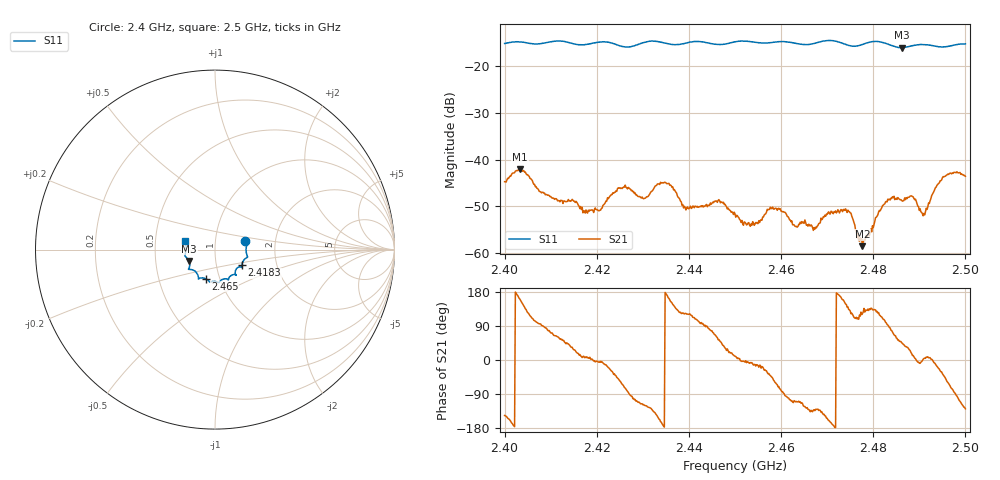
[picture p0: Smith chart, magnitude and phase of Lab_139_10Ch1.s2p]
# Hz S RI R 50
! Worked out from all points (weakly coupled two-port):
!   601 points, 2.4 GHz to 2.5 GHz, reference 50 ohm
!   highest |S21| = -42.07 dB at 2.4033 GHz (marker M1); lowest = -58.6 dB at 2.4777 GHz (marker M2)
!   lowest |S11| = -16.0 dB at 2.4862 GHz (marker M3), VSWR 1.37, Z = 37.1 - j4.82 ohm
!   |S11| at or under -10 dB: start of sweep to end of sweep
!   S12 and S22 are empty: the file has one direction only
!   S11 on the Smith chart (normalised r, x): 2.4 GHz: 1.40, +0.13; 2.4183 GHz: 1.33, -0.24; 2.465 GHz: 0.86, -0.29; 2.5 GHz: 0.71, +0.07
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2.4e9  0.1688 0.0458  -0.00482 -0.0032  0 0  0 0
2.403333e9  0.1796 0.031  -0.00742 0.00264  0 0  0 0
2.416667e9  0.155 -0.0683  0.00288 0.000463  0 0  0 0
2.418333e9  0.1498 -0.0868  0.00277 0.000255  0 0  0 0
2.425e9  0.1341 -0.0966  0.00284 -0.00409  0 0  0 0
2.430167e9  0.1142 -0.1379  -0.00175 -0.00337  0 0  0 0
2.433333e9  0.1166 -0.1414  -0.00483 -0.00256  0 0  0 0
2.439333e9  0.0768 -0.1591  -0.00156 0.00242  0 0  0 0
2.446167e9  0.0515 -0.1632  0.00178 0.00298  0 0  0 0
2.45e9  0.0251 -0.1808  0.00257 0.000452  0 0  0 0
2.453667e9  0.0157 -0.1817  0.00196 -0.000241  0 0  0 0
2.459333e9  -0.0254 -0.1809  0.000993 -0.0028  0 0  0 0
2.465e9  -0.0529 -0.1621  -0.00111 -0.00175  0 0  0 0
2.466667e9  -0.0714 -0.1575  -0.0014 -0.00137  0 0  0 0
2.474e9  -0.0956 -0.142  -0.0025 0.00159  0 0  0 0
2.477667e9  -0.1295 -0.1119  -0.000636 0.000992  0 0  0 0
2.483333e9  -0.1419 -0.0957  3.03e-05 0.00371  0 0  0 0
2.486167e9  -0.1445 -0.0633  0.00255 0.0026  0 0  0 0
2.488667e9  -0.161 -0.0424  0.00389 0.00082  0 0  0 0
2.490833e9  -0.1672 -0.034  0.00249 8.89e-05  0 0  0 0
2.4955e9  -0.1608 0.0108  0.00469 -0.00462  0 0  0 0
2.5e9  -0.1666 0.0472  -0.00414 -0.00515  0 0  0 0
